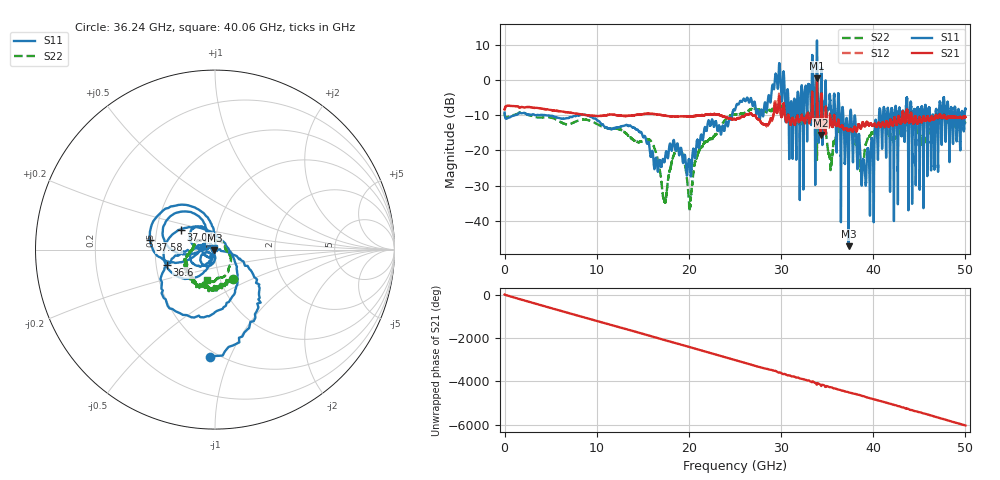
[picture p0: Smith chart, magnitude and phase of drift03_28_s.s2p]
!Created with skrf (http://scikit-rf.org).
# Hz S RI R 50.0
!freq ReS11 ImS11 ReS21 ImS21 ReS12 ImS12 ReS22 ImS22
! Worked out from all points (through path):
!   10001 points, 300 kHz to 50 GHz, reference 50 ohm
!   highest |S21| = 0.51 dB at 33.9 GHz (marker M1); lowest = -15.6 dB at 34.32 GHz (marker M2)
!   group delay of S21, straight-line fit = 335 ps
!   lowest |S11| = -47.2 dB at 37.32 GHz (marker M3), VSWR 1.01, Z = 49.7 - j0.279 ohm
!   |S11| at or under -10 dB: 4.471 GHz to 7.944 GHz (3.472 GHz wide, 55.9 % of centre); 9.009 GHz to 24.7 GHz (15.69 GHz wide, 93.1 % of centre); 37.62 GHz to 40.62 GHz (3.006 GHz wide, 7.68 % of centre) (the widest 3 of 61)
!   |S22| runs from -37.1 to -5.9 dB; largest |S21 - S12| = 0.11
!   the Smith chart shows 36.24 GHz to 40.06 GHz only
!   S11 on the Smith chart (normalised r, x): 36.24 GHz: 0.45, -0.85; 36.6 GHz: 0.57, -0.11; 37.04 GHz: 0.66, +0.16; 37.58 GHz: 0.46, +0.06; 40.06 GHz: 0.99, +0.02
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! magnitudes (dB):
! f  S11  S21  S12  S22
! 300 kHz  -9.3  -8.4  -8.4  -9.3
! 8.335 GHz  -9.9  -9.8  -9.8  -11.3
! 16.67 GHz  -25.5  -9.8  -9.8  -23.4
! 17.38 GHz  -22.8  -10.1  -10.1  -34.7
! 19.06 GHz  -20.1  -10.4  -10.4  -20.0
! 20.12 GHz  -24.2  -10.3  -10.3  -36.6
! 21.19 GHz  -18.0  -10.1  -10.1  -19.6
! 25 GHz  -8.6  -11.1  -11.1  -9.8
! 31.08 GHz  -6.1  -12.7  -12.7  -10.5
! 33.34 GHz  0.6  -7.5  -7.6  -9.5
! 33.9 GHz  11.3  0.5  0.1  -22.7
! 34.32 GHz  -2.9  -15.6  -14.9  -11.3
! 35.34 GHz  -6.0  -10.5  -10.0  -25.0
! 36.24 GHz  -4.4  -11.7  -11.7  -14.2
! 36.6 GHz  -11.0  -13.0  -13.0  -13.5
! 37.04 GHz  -13.1  -13.8  -14.0  -13.4
! 37.32 GHz  -47.2  -14.4  -14.5  -13.5
! 37.58 GHz  -8.7  -13.9  -13.8  -14.1
! 38.7 GHz  -27.4  -13.5  -13.4  -25.3
! 40.06 GHz  -40.3  -12.7  -12.7  -15.1
! 41.67 GHz  -9.5  -13.3  -13.3  -14.9
! 50 GHz  -8.2  -10.5  -10.5  -12.1
